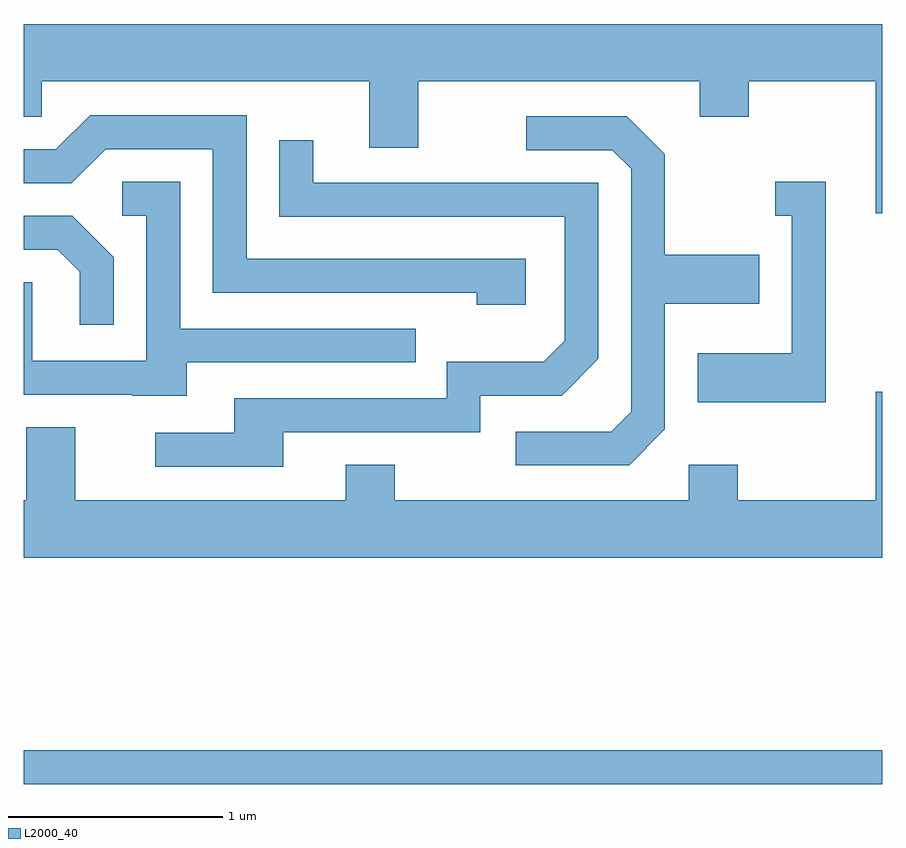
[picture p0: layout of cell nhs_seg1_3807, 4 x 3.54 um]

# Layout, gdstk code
import gdstk
lib = gdstk.Library(unit=1e-6, precision=1e-09)
def R(c, l, rs):  # rectangles x0, y0, x1, y1
    for r in rs: c.add(gdstk.rectangle(r[:2], r[2:], *l))
def P(c, l, *ps):  # polygons
    for p in ps: c.add(gdstk.Polygon(p, *l))
L2000_40 = (2000, 40)

nhs_seg1_3807 = lib.new_cell('nhs_seg1_3807')
R(nhs_seg1_3807, L2000_40, [(299.611,911.841,303.611,911.999)])
P(nhs_seg1_3807, L2000_40, [(299.611,914.951),(299.694,914.951),(299.694,915.116),(301.221,915.116),(301.221,914.806),(301.449,914.806),(301.449,915.116),(302.761,915.116),(302.761,914.951),(302.989,914.951),(302.989,915.116),(303.581,915.116),(303.581,914.501),(303.611,914.501),(303.611,915.384),(299.611,915.384)],
  [(301.949,914.289),(300.649,914.289),(300.649,914.959),(299.919,914.959),(299.759,914.799),(299.611,914.799),(299.611,914.641),(299.832,914.641),(299.992,914.801),(300.491,914.801),(300.491,914.131),(301.721,914.131),(301.721,914.076),(301.949,914.076)],
  [(302.599,913.494),(302.599,914.081),(303.039,914.081),(303.039,914.309),(302.599,914.309),(302.599,914.777),(302.422,914.954),(301.953,914.954),(301.953,914.796),(302.354,914.796),(302.441,914.709),(302.441,913.577),(302.349,913.484),(301.903,913.484),(301.903,913.326),(302.432,913.326)],
  [(300.819,913.481),(301.739,913.481),(301.739,913.651),(302.117,913.651),(302.289,913.824),(302.289,914.644),(300.959,914.644),(300.959,914.843),(300.801,914.843),(300.801,914.486),(302.131,914.486),(302.131,913.907),(302.034,913.809),(301.581,913.809),(301.581,913.639),(300.591,913.639),(300.591,913.479),(300.223,913.479),(300.223,913.321),(300.819,913.321)],
  [(303.349,914.649),(303.113,914.649),(303.113,914.491),(303.191,914.491),(303.191,913.849),(302.751,913.849),(302.751,913.621),(303.349,913.621)],
  [(300.369,913.806),(301.438,913.806),(301.438,913.964),(300.339,913.964),(300.339,914.649),(300.068,914.649),(300.068,914.491),(300.181,914.491),(300.181,913.814),(299.649,913.814),(299.649,914.179),(299.611,914.179),(299.611,913.656),(300.115,913.656),(300.115,913.651),(300.369,913.651)],
  [(300.029,914.297),(299.837,914.489),(299.611,914.489),(299.611,914.331),(299.769,914.331),(299.871,914.229),(299.871,913.983),(300.029,913.983)],
  [(303.611,913.669),(303.581,913.669),(303.581,913.164),(302.939,913.164),(302.939,913.329),(302.711,913.329),(302.711,913.164),(301.339,913.164),(301.339,913.329),(301.111,913.329),(301.111,913.164),(299.849,913.164),(299.849,913.504),(299.621,913.504),(299.621,913.164),(299.611,913.164),(299.611,912.896),(303.611,912.896)])

lib.write_gds('nhs_seg1_3807.gds')
